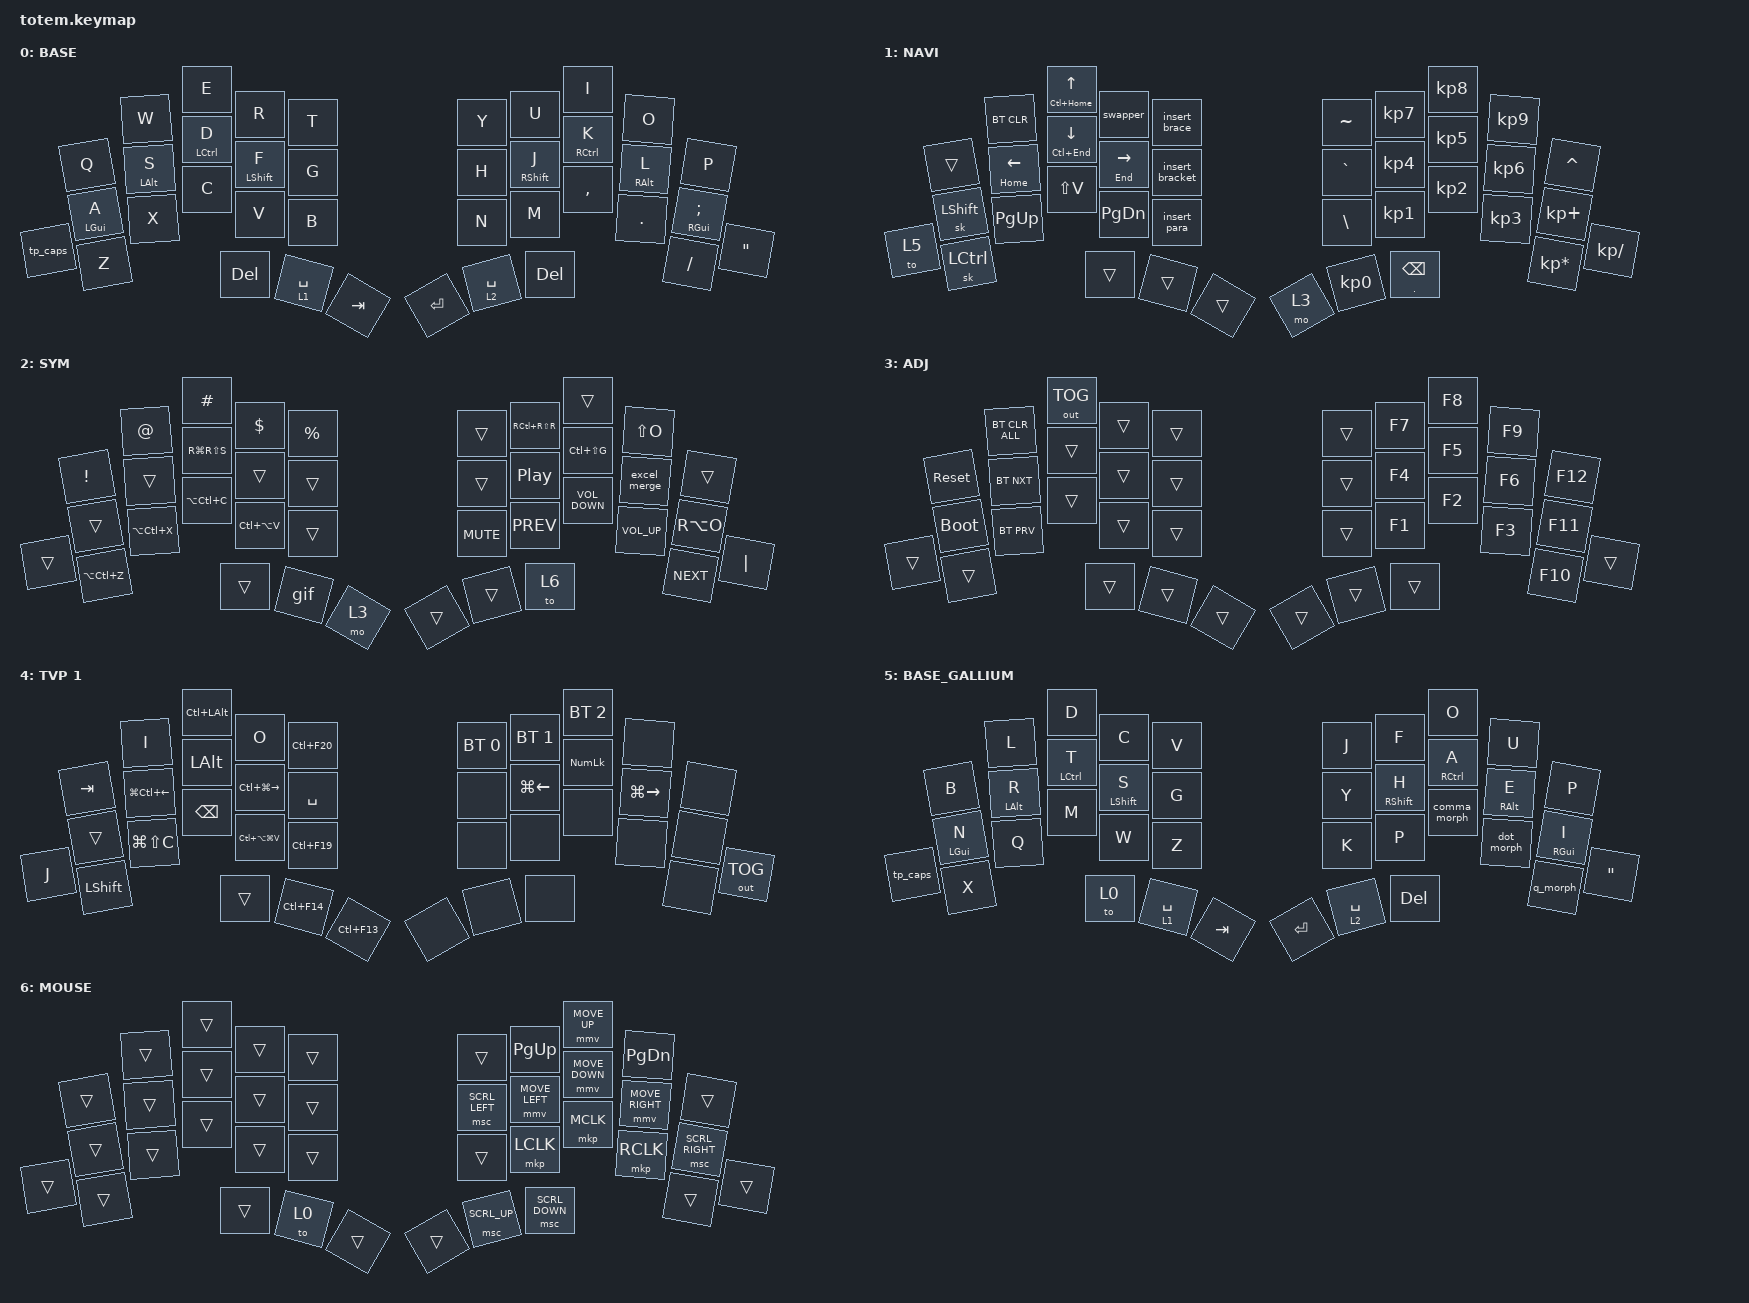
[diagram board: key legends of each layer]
//
//                                                        ▀▀▀▀▀     ▀▀▀▀▀          ▀▀█▀▀
//                                                        ▄▀▀▀▄  ▄  ▄▀▀▀▄  ▄  ▄▀▀▀▄  █  ▄▀▀▀▄
//                                                        █   █  █  █   █  █  █   █  █  █   █
//                                                         ▀▀▀   █   ▀▀▀   █   ▀▀▀   ▀   ▀▀▀
//                                                               █      ▄▄▄█▄▄▄    █   █  
//                                                               ▀      █  █  █     █▄█
//                                                             ▀▀▀▀▀    █  █  █      ▀
//                                                                      ▀  ▀  ▀
//
// ▄▄▄▄▄▄▄▄▄▄▄▄▄▄▄▄▄▄▄▄▄▄▄▄▄▄▄▄▄▄▄▄▄▄▄▄▄▄▄▄▄▄▄▄▄▄▄▄▄▄▄▄▄▄▄▄▄▄▄▄▄▄▄▄▄▄▄▄▄▄▄▄▄▄▄▄▄▄▄▄▄▄▄▄▄▄▄▄▄▄▄▄▄▄▄▄▄▄▄▄▄▄▄▄▄▄▄▄▄▄▄▄▄▄▄▄▄▄▄▄▄▄▄▄▄▄▄▄▄▄▄▄▄▄▄▄▄▄▄▄▄▄▄▄▄▄▄▄▄
// modules

#define ZMK_POINTING_DEFAULT_MOVE_VAL 1500  // 600
#define ZMK_POINTING_DEFAULT_SCRL_VAL 200   // 10

#include <behaviors/num_word.dtsi> // Requires zmk-auto-layer module. Adds num word
#include <behaviors.dtsi>
#include <dt-bindings/zmk/bt.h>
#include <dt-bindings/zmk/keys.h>
#include <dt-bindings/zmk/outputs.h>
#include <dt-bindings/zmk/pointing.h>

#define BASE 0
#define NAV  1
#define SYM  2
#define ADJ  3
#define TVP1 4
#define TVP2 5
#define MOUSE 6

&mt {
    quick-tap-ms = <150>;
    global-quick-tap;
    flavor = "balanced";
    tapping-term-ms = <280>;
    require-prior-idle-ms = <150>;
    hold-trigger-on-release;
};

&caps_word { continue-list = <UNDERSCORE BACKSPACE DELETE MINUS SLASH KP_NUMBER_1 KP_N2 KP_N3 KP_N4 KP_N5 KP_N6 KP_N7 KP_N8 KP_N9 KP_N0>; };

&msc {
    trigger-period-ms = <8>;
    time-to-max-speed-ms = <40>;  // 300
    acceleration-exponent = <1>;  // 0
};

&mmv {
    time-to-max-speed-ms = <500>; // 300
    trigger-period-ms = <8>;
    acceleration-exponent = <1>;  // 1
};

/ {
    // start of combos

    combos {
        compatible = "zmk,combos";

        combo_esc {
            timeout-ms = <50>;
            key-positions = <0 1>;
            bindings = <&kp ESC>;
        };

        combo_tvp {
            timeout-ms = <100>;
            key-positions = <11 12 13>;
            bindings = <&tog 4>;
        };

        combo_bksp {
            bindings = <&kp BACKSPACE>;
            key-positions = <8 7>;
        };

        F2_combo {
            bindings = <&kp F2>;
            key-positions = <12 2>;
        };

        combo_apos {
            bindings = <&kp APOS>;
            key-positions = <8 9>;
            require-prior-idle-ms = <150>;
        };

        combo_copy {
            bindings = <&kp LC(C)>;
            key-positions = <22 23>;
        };

        combo_paste {
            bindings = <&kp LC(V)>;
            key-positions = <23 24>;
        };

        combo_and {
            bindings = <&kp AMPS>;
            key-positions = <6 16>;
        };

        combo_F4 {
            bindings = <&kp F4>;
            key-positions = <3 13>;
        };

        combo_underscore {
            bindings = <&kp UNDER>;
            key-positions = <28 17>;
        };

        combo_dash {
            bindings = <&kp MINUS>;
            key-positions = <16 27>;
        };

        combo_equals {
            bindings = <&kp EQUAL>;
            key-positions = <13 24>;
        };

        combo_at {
            bindings = <&kp AT>;
            key-positions = <1 11>;
        };

        combo_excla {
            bindings = <&kp EXCLAMATION>;
            key-positions = <0 10>;
        };

        combo_cut {
            bindings = <&kp LC(X)>;
            key-positions = <24 22>;
        };

        combo_power {
            bindings = <&kp CARET>;
            key-positions = <5 15>;
        };

        num_period {
            bindings = <&kp PERIOD>;
            key-positions = <29 27 28>;
            layers = <1>;
        };

        lpara {
            bindings = <&lpara_morph>;
            key-positions = <16 17>;
        };

        rpara {
            bindings = <&rpara_morph>;
            key-positions = <17 18>;
        };

        lbracket {
            bindings = <&kp LEFT_BRACKET>;
            key-positions = <27 28>;
            require-prior-idle-ms = <250>;
        };

        rbracket {
            bindings = <&kp RIGHT_BRACKET>;
            key-positions = <28 29>;
            require-prior-idle-ms = <250>;
        };

        mouse {
            bindings = <&to 6>;
            key-positions = <2 3 1>;
            require-prior-idle-ms = <800>;
        };

        combo_delete {
            bindings = <&kp DEL>;
            key-positions = <7 6>;
            require-prior-idle-ms = <150>;
        };

        comb_backslash {
            bindings = <&kp BACKSLASH>;
            key-positions = <29 30>;
            layers = <0>;
        };

        /*custom combos that require modules */
        //Requires urob's auto-layer
        /* combo_smart-mouse {
            key-positions = <2 3>;
            bindings = <&smart_mouse 6>;
        };
        */
    };

    // Start of macros

    macros {
        gif: gif {
            label = "giphy";
            compatible = "zmk,behavior-macro";
            #binding-cells = <0>;
            bindings =
                <&macro_press>,
                <&kp LSHFT>,
                <&macro_tap>,
                <&kp N2>,
                <&macro_release>,
                <&kp LSHFT>,
                <&macro_tap>,
                <&kp G &kp I &kp F>;
        };

        insert_para: inset_para {
            compatible = "zmk,behavior-macro";
            #binding-cells = <0>;
            bindings = <&kp LPAR &kp RPAR &kp LEFT>;
            label = "INSET_PARA";
        };

        insert_bracket: insert_sqbrace {
            compatible = "zmk,behavior-macro";
            #binding-cells = <0>;
            bindings = <&kp LEFT_BRACKET &kp RIGHT_BRACKET &kp LEFT>;
            label = "INSERT_SQBRACE";
        };

        insert_brace: insert_brace {
            compatible = "zmk,behavior-macro";
            #binding-cells = <0>;
            bindings = <&kp LEFT_BRACE &kp RIGHT_BRACE &kp LEFT>;
            label = "INSERT_BRACE";
        };

        excel_merge: excel_merge {
            compatible = "zmk,behavior-macro";
            #binding-cells = <0>;
            bindings = <&kp RA(H) &kp M &kp C>;
            label = "EXCEL_MERGE";
        };
    };

    // start of behaviors

    behaviors {
        tp_caps: tp_caps {
            compatible = "zmk,behavior-tap-dance";
            label = "TP_CAPS";
            #binding-cells = <0>;
            bindings = <&caps_word>, <&kp CAPS>;
        };

        /* Custom Behaviors*/
        //swapper, requires urob's tri-state module

        swapper: swapper {
            compatible = "zmk,behavior-tri-state";
            label = "SWAPPER";
            #binding-cells = <0>;
            bindings = <&kt LALT>, <&kp TAB>, <&kt LALT>;

            ignored-key-positions = <1>;
        };

        comma_morph: comma_morph {
            compatible = "zmk,behavior-mod-morph";
            label = "COMMA_MORPH";
            bindings = <&kp COMMA>, <&comma_inner_morph>;

            #binding-cells = <0>;
            mods = <(MOD_LSFT)>;
        };

        comma_inner_morph: comma_inner_morph {
            compatible = "zmk,behavior-mod-morph";
            label = "COMMA_INNER_MORPH";
            bindings = <&kp SEMI>, <&kp LESS_THAN>;

            #binding-cells = <0>;
            mods = <(MOD_LCTL)>;
        };

        dot_inner_morph: dot_inner_morph {
            compatible = "zmk,behavior-mod-morph";
            label = "DOT_INNER_MORPH";
            bindings = <&kp COLON>, <&kp GREATER_THAN>;

            #binding-cells = <0>;
            mods = <(MOD_LCTL)>;
        };

        dot_morph: dot_morph {
            compatible = "zmk,behavior-mod-morph";
            label = "DOT_MORPH";
            bindings = <&kp DOT>, <&dot_inner_morph>;

            #binding-cells = <0>;
            mods = <(MOD_LSFT)>;
        };

        q_morph: q_morph {
            compatible = "zmk,behavior-mod-morph";
            label = "Q_MORPH";
            bindings = <&kp QUESTION>, <&kp EXCLAMATION>;

            #binding-cells = <0>;
            mods = <(MOD_LSFT)>;
        };

        lpara_morph: lpara_morph {
            compatible = "zmk,behavior-mod-morph";
            label = "LPARA_MORPH";
            bindings = <&kp LEFT_PARENTHESIS>, <&kp LESS_THAN>;

            #binding-cells = <0>;
            mods = <(MOD_LSFT)>;
        };

        rpara_morph: rpara_morph {
            compatible = "zmk,behavior-mod-morph";
            label = "RPARA_MORPH";
            bindings = <&kp RIGHT_PARENTHESIS>, <&kp GREATER_THAN>;

            #binding-cells = <0>;
            mods = <(MOD_LSFT)>;
        };

        //smart mouse auto-layer
        /* smart_mouse: smart_mouse {
            compatible = "zmk,behavior-auto-layer";
            #binding-cells = <1>;
            continue-list = <PG_UP MOVE_UP PG_DN SCRL_LEFT MOVE_LEFT MOVE_DOWN MOVE_RIGHT SCRL_RIGHT LCLK MCLK RCLK SCRL_RIGHT SCRL_DOWN>;
            ignore-modifiers;
        };
        */
    };

    keymap {
        compatible = "zmk,keymap";

        // ▄▄▄▄▄▄▄▄▄▄▄▄▄▄▄▄▄▄▄▄▄▄▄▄▄▄▄▄▄▄▄▄▄▄▄▄▄▄▄▄▄▄▄▄▄▄▄▄▄▄▄▄▄▄▄▄▄▄▄▄▄▄▄▄▄▄▄▄▄▄▄▄▄▄▄▄▄▄▄▄▄▄▄▄▄▄▄▄▄▄▄▄▄▄▄▄▄▄▄▄▄▄▄▄▄▄▄▄▄▄▄▄▄▄▄▄▄▄▄▄▄▄▄▄▄▄▄▄▄▄▄▄▄▄▄▄▄▄▄▄▄▄▄▄▄▄▄▄▄

        base_layer {
            // ┏━━━━━━━━━━━━━━━━━━━━━━━━━━━━━━━━━━━━━━━┓

            label = "BASE";

            // ┗━━━━━━━━━━━━━━━━━━━━━━━━━━━━━━━━━━━━━━━┛
            //             ┏━━━━━━━━━━━┳━━━━━━━━━━━┳━━━━━━━━━━━┳━━━━━━━━━━━┳━━━━━━━━━━━┓   ┏━━━━━━━━━━━┳━━━━━━━━━━━┳━━━━━━━━━━━┳━━━━━━━━━━━┳━━━━━━━━━━━┓
            //             ┃     Q     ┃     W     ┃     E     ┃     R     ┃     T     ┃   ┃    Y      ┃     U     ┃     I     ┃     O     ┃     P     ┃
            //             ┣━━━━━━━━━━━╋━━━━━━━━━━━╋━━━━━━━━━━━╋━━━━━━━━━━━╋━━━━━━━━━━━┫   ┣━━━━━━━━━━━╋━━━━━━━━━━━╋━━━━━━━━━━━╋━━━━━━━━━━━╋━━━━━━━━━━━┫
            //             ┃     A     ┃     S     ┃     D     ┃     F     ┃     G     ┃   ┃     H     ┃     J     ┃     K     ┃     L     ┃     ;     ┃
            // ┏━━━━━━━━━━━╋━━━━━━━━━━━╋━━━━━━━━━━━╋━━━━━━━━━━━╋━━━━━━━━━━━╋━━━━━━━━━━━┫   ┣━━━━━━━━━━━╋━━━━━━━━━━━╋━━━━━━━━━━━╋━━━━━━━━━━━╋━━━━━━━━━━━╋━━━━━━━━━━━┓
            // ┃ CAPS WORD ┃     Z     ┃     X     ┃     C     ┃     V     ┃     B     ┃   ┃     N     ┃     M     ┃     ,     ┃     .     ┃     /     ┃     "     ┃
            // ┗━━━━━━━━━━━┻━━━━━━━━━━━┻━━━━━━━━━━━╋━━━━━━━━━━━╋━━━━━━━━━━━╋━━━━━━━━━━━┫   ┣━━━━━━━━━━━╋━━━━━━━━━━━╋━━━━━━━━━━━╋━━━━━━━━━━━┻━━━━━━━━━━━┻━━━━━━━━━━━┛
            //                                     ┃    DEL    ┃    SPC    ┃    TAB    ┃   ┃   ENTER   ┃    SPC    ┃   BSPC    ┃
            //                                     ┗━━━━━━━━━━━┻━━━━━━━━━━━┻━━━━━━━━━━━┛   ┗━━━━━━━━━━━┻━━━━━━━━━━━┻━━━━━━━━━━━┛

            bindings = <
          &kp Q       &kp W       &kp E        &kp R        &kp T      &kp Y    &kp U        &kp I        &kp O       &kp P
          &mt LGUI A  &mt LALT S  &mt LCTRL D  &mt LSHFT F  &kp G      &kp H    &mt RSHFT J  &mt RCTRL K  &mt RALT L  &mt RGUI SEMI
&tp_caps  &kp Z       &kp X       &kp C        &kp V        &kp B      &kp N    &kp M        &kp COMMA    &kp DOT     &kp FSLH       &kp DOUBLE_QUOTES
                                  &kp DEL      &lt 1 SPACE  &kp TAB    &kp RET  &lt 2 SPACE  &kp DELETE
            >;
        };

        nav_layer {
            // ┏━━━━━━━━━━━━━━━━━━━━━━━━━━━━━━━━━━━━━━━┓

            label = "NAVI";

            // ┗━━━━━━━━━━━━━━━━━━━━━━━━━━━━━━━━━━━━━━━┛
            //             ┏━━━━━━━━━━━┳━━━━━━━━━━━┳━━━━━━━━━━━┳━━━━━━━━━━━┳━━━━━━━━━━━┓   ┏━━━━━━━━━━━┳━━━━━━━━━━━┳━━━━━━━━━━━┳━━━━━━━━━━━┳━━━━━━━━━━━┓
            //             ┃           ┃           ┃     UP    ┃           ┃     {}    ┃   ┃     ~     ┃     7     ┃     8     ┃     9     ┃     +     ┃
            //             ┣━━━━━━━━━━━╋━━━━━━━━━━━╋━━━━━━━━━━━╋━━━━━━━━━━━╋━━━━━━━━━━━┫   ┣━━━━━━━━━━━╋━━━━━━━━━━━╋━━━━━━━━━━━╋━━━━━━━━━━━╋━━━━━━━━━━━┫
            //             ┃   SHIFT   ┃   LEFT    ┃    DOWN   ┃   RIGHT   ┃     []    ┃   ┃     '     ┃     4     ┃     5     ┃     6     ┃     -     ┃
            // ┏━━━━━━━━━━━╋━━━━━━━━━━━╋━━━━━━━━━━━╋━━━━━━━━━━━╋━━━━━━━━━━━╋━━━━━━━━━━━┫   ┣━━━━━━━━━━━╋━━━━━━━━━━━╋━━━━━━━━━━━╋━━━━━━━━━━━╋━━━━━━━━━━━╋━━━━━━━━━━━┓
            // ┃           ┃    DEL    ┃   P UP    ┃  C LOCK   ┃  P DOWN   ┃     ()    ┃   ┃     .     ┃     1     ┃     2     ┃     3     ┃     *     ┃     /     ┃
            // ┗━━━━━━━━━━━┻━━━━━━━━━━━┻━━━━━━━━━━━╋━━━━━━━━━━━╋━━━━━━━━━━━╋━━━━━━━━━━━┫   ┣━━━━━━━━━━━╋━━━━━━━━━━━╋━━━━━━━━━━━╋━━━━━━━━━━━┻━━━━━━━━━━━┻━━━━━━━━━━━┛
            //                                     ┃           ┃    SPC    ┃    TAB    ┃   ┃    DEL    ┃     0     ┃           ┃
            //                                     ┗━━━━━━━━━━━┻━━━━━━━━━━━┻━━━━━━━━━━━┛   ┗━━━━━━━━━━━┻━━━━━━━━━━━┻━━━━━━━━━━━┛

            bindings = <
       &trans     &bt BT_CLR     &mt LC(HOME) UP_ARROW  &swapper       &insert_brace      &kp TILDE      &kp KP_N7  &kp KP_N8             &kp KP_N9  &kp CARET
       &sk LSHFT  &mt HOME LEFT  &mt LC(END) DOWN       &mt END RIGHT  &insert_bracket    &kp GRAVE      &kp KP_N4  &kp KP_N5             &kp KP_N6  &kp KP_PLUS
&to 5  &sk LCTRL  &kp PG_UP      &kp LS(V)              &kp PG_DN      &insert_para       &kp BACKSLASH  &kp KP_N1  &kp KP_N2             &kp KP_N3  &kp KP_MULTIPLY  &kp KP_SLASH
                                 &trans                 &trans         &trans             &mo 3          &kp KP_N0  &mt PERIOD BACKSPACE
            >;
        };

        sim_layer {
            // ┏━━━━━━━━━━━━━━━━━━━━━━━━━━━━━━━━━━━━━━━┓

            label = "SYM";

            // ┗━━━━━━━━━━━━━━━━━━━━━━━━━━━━━━━━━━━━━━━┛
            //             ┏━━━━━━━━━━━┳━━━━━━━━━━━┳━━━━━━━━━━━┳━━━━━━━━━━━┳━━━━━━━━━━━┓   ┏━━━━━━━━━━━┳━━━━━━━━━━━┳━━━━━━━━━━━┳━━━━━━━━━━━┳━━━━━━━━━━━┓
            //             ┃     !     ┃     @     ┃     #     ┃     $     ┃     %     ┃   ┃     ˆ     ┃     *     ┃     Ü     ┃     '     ┃     "     ┃
            //             ┣━━━━━━━━━━━╋━━━━━━━━━━━╋━━━━━━━━━━━╋━━━━━━━━━━━╋━━━━━━━━━━━┫   ┣━━━━━━━━━━━╋━━━━━━━━━━━╋━━━━━━━━━━━╋━━━━━━━━━━━╋━━━━━━━━━━━┫
            //             ┃     Ä     ┃           ┃    SZ     ┃           ┃           ┃   ┃   MUTE    ┃ PLAYPAUSE ┃   EURO    ┃  POUND    ┃     Ö     ┃
            // ┏━━━━━━━━━━━╋━━━━━━━━━━━╋━━━━━━━━━━━╋━━━━━━━━━━━╋━━━━━━━━━━━╋━━━━━━━━━━━┫   ┣━━━━━━━━━━━╋━━━━━━━━━━━╋━━━━━━━━━━━╋━━━━━━━━━━━╋━━━━━━━━━━━╋━━━━━━━━━━━┓
            // ┃           ┃  EMAIL1   ┃  EMAIL2   ┃           ┃           ┃           ┃   ┃   VOL-    ┃   VOL+    ┃   LAST    ┃   NEXT    ┃     \     ┃           ┃
            // ┗━━━━━━━━━━━┻━━━━━━━━━━━┻━━━━━━━━━━━╋━━━━━━━━━━━╋━━━━━━━━━━━╋━━━━━━━━━━━┫   ┣━━━━━━━━━━━╋━━━━━━━━━━━╋━━━━━━━━━━━╋━━━━━━━━━━━┻━━━━━━━━━━━┻━━━━━━━━━━━┛
            //                                     ┃           ┃    GIF    ┃    ADJ    ┃   ┃           ┃           ┃           ┃
            //                                     ┗━━━━━━━━━━━┻━━━━━━━━━━━┻━━━━━━━━━━━┛   ┗━━━━━━━━━━━┻━━━━━━━━━━━┻━━━━━━━━━━━┛

            bindings = <
        &kp EXCL       &kp AT         &kp HASH       &kp DLLR       &kp PRCNT    &trans      &kp RC(RS(R))     &trans             &kp LS(O)        &trans
        &trans         &trans         &kp RG(RS(S))  &trans         &trans       &trans      &kp C_PLAY_PAUSE  &kp LC(LS(G))      &excel_merge     &kp RA(O)
&trans  &kp LA(LC(Z))  &kp LA(LC(X))  &kp LA(LC(C))  &kp LC(LA(V))  &trans       &kp C_MUTE  &kp C_PREV        &kp C_VOLUME_DOWN  &kp C_VOLUME_UP  &kp C_NEXT  &kp PIPE
                                      &trans         &gif           &mo 3        &trans      &trans            &to 6
            >;
        };

        adjust_layer {
            // ┏━━━━━━━━━━━━━━━━━━━━━━━━━━━━━━━━━━━━━━━┓

            label = "ADJ";

            // ┗━━━━━━━━━━━━━━━━━━━━━━━━━━━━━━━━━━━━━━━┛
            //             ┏━━━━━━━━━━━┳━━━━━━━━━━━┳━━━━━━━━━━━┳━━━━━━━━━━━┳━━━━━━━━━━━┓   ┏━━━━━━━━━━━┳━━━━━━━━━━━┳━━━━━━━━━━━┳━━━━━━━━━━━┳━━━━━━━━━━━┓
            //             ┃   RESET   ┃ BT CLEAR  ┃  OUT TOG  ┃           ┃           ┃   ┃           ┃    F7     ┃    F8     ┃    F9     ┃    F12    ┃
            //             ┣━━━━━━━━━━━╋━━━━━━━━━━━╋━━━━━━━━━━━╋━━━━━━━━━━━╋━━━━━━━━━━━┫   ┣━━━━━━━━━━━╋━━━━━━━━━━━╋━━━━━━━━━━━╋━━━━━━━━━━━╋━━━━━━━━━━━┫
            //             ┃ BOOTLOAD  ┃ BT NEXT   ┃           ┃           ┃           ┃   ┃           ┃    F4     ┃    F5     ┃    F6     ┃    F11    ┃
            // ┏━━━━━━━━━━━╋━━━━━━━━━━━╋━━━━━━━━━━━╋━━━━━━━━━━━╋━━━━━━━━━━━╋━━━━━━━━━━━┫   ┣━━━━━━━━━━━╋━━━━━━━━━━━╋━━━━━━━━━━━╋━━━━━━━━━━━╋━━━━━━━━━━━╋━━━━━━━━━━━┓
            // ┃           ┃           ┃ BT PREV   ┃           ┃           ┃           ┃   ┃           ┃    F1     ┃    F2     ┃    F3     ┃    F10    ┃           ┃
            // ┗━━━━━━━━━━━┻━━━━━━━━━━━┻━━━━━━━━━━━╋━━━━━━━━━━━╋━━━━━━━━━━━╋━━━━━━━━━━━┫   ┣━━━━━━━━━━━╋━━━━━━━━━━━╋━━━━━━━━━━━╋━━━━━━━━━━━┻━━━━━━━━━━━┻━━━━━━━━━━━┛
            //                                     ┃           ┃           ┃           ┃   ┃           ┃           ┃           ┃
            //                                     ┗━━━━━━━━━━━┻━━━━━━━━━━━┻━━━━━━━━━━━┛   ┗━━━━━━━━━━━┻━━━━━━━━━━━┻━━━━━━━━━━━┛

            bindings = <
        &sys_reset   &bt BT_CLR_ALL  &out OUT_TOG  &trans  &trans    &trans  &kp F7  &kp F8  &kp F9  &kp F12
        &bootloader  &bt BT_NXT      &trans        &trans  &trans    &trans  &kp F4  &kp F5  &kp F6  &kp F11
&trans  &trans       &bt BT_PRV      &trans        &trans  &trans    &trans  &kp F1  &kp F2  &kp F3  &kp F10  &trans
                                     &trans        &trans  &trans    &trans  &trans  &trans
            >;
        };

        tvp1_layer {
            // ┏━━━━━━━━━━━━━━━━━━━━━━━━━━━━━━━━━━━━━━━┓

            label = "TVP 1";

            // ┗━━━━━━━━━━━━━━━━━━━━━━━━━━━━━━━━━━━━━━━┛
            //             ┏━━━━━━━━━━━┳━━━━━━━━━━━┳━━━━━━━━━━━┳━━━━━━━━━━━┳━━━━━━━━━━━┓   ┏━━━━━━━━━━━┳━━━━━━━━━━━┳━━━━━━━━━━━┳━━━━━━━━━━━┳━━━━━━━━━━━┓
            //             ┃ NEXT FILE ┃ MARK IN   ┃ ROTATE    ┃ MARK OUT  ┃ SHOW SNAP ┃   ┃           ┃           ┃           ┃           ┃           ┃
            //             ┣━━━━━━━━━━━╋━━━━━━━━━━━╋━━━━━━━━━━━╋━━━━━━━━━━━╋━━━━━━━━━━━┫   ┣━━━━━━━━━━━╋━━━━━━━━━━━╋━━━━━━━━━━━╋━━━━━━━━━━━╋━━━━━━━━━━━┫
            //             ┃ TVP II    ┃ LEFT      ┃ PAN       ┃ RIGHT     ┃ PLAY/FLIP ┃   ┃           ┃ R DESKTOP ┃           ┃ L DESKTOP ┃           ┃
            // ┏━━━━━━━━━━━╋━━━━━━━━━━━╋━━━━━━━━━━━╋━━━━━━━━━━━╋━━━━━━━━━━━╋━━━━━━━━━━━┫   ┣━━━━━━━━━━━╋━━━━━━━━━━━╋━━━━━━━━━━━╋━━━━━━━━━━━╋━━━━━━━━━━━╋━━━━━━━━━━━┓
            // ┃ FULLSCR   ┃ SHIFT     ┃ COPY      ┃ DELETE    ┃ PASTE     ┃ IMG MARK  ┃   ┃           ┃           ┃           ┃           ┃           ┃           ┃
            // ┗━━━━━━━━━━━┻━━━━━━━━━━━┻━━━━━━━━━━━╋━━━━━━━━━━━╋━━━━━━━━━━━╋━━━━━━━━━━━┫   ┣━━━━━━━━━━━╋━━━━━━━━━━━╋━━━━━━━━━━━╋━━━━━━━━━━━┻━━━━━━━━━━━┻━━━━━━━━━━━┛
            //                                     ┃           ┃ UNDO/SAVE ┃  SEL/MOV  ┃   ┃           ┃           ┃           ┃
            //                                     ┗━━━━━━━━━━━┻━━━━━━━━━━━┻━━━━━━━━━━━┛   ┗━━━━━━━━━━━┻━━━━━━━━━━━┻━━━━━━━━━━━┛

            bindings = <
       &kp TAB    &kp I             &kp LC(LALT)  &kp O              &kp LC(F20)    &bt BT_SEL 0  &bt BT_SEL 1  &bt BT_SEL 2    &none          &none
       &trans     &kp LG(LC(LEFT))  &kp LALT      &kp LC(LG(RIGHT))  &kp SPACE      &none         &kp LG(LEFT)  &kp KP_NUMLOCK  &kp LG(RIGHT)  &none
&kp J  &kp LSHFT  &kp LG(LS(C))     &kp BSPC      &kp LC(LA(LG(V)))  &kp LC(F19)    &none         &none         &none           &none          &none  &out OUT_TOG
                                    &trans        &kp LC(F14)        &kp LC(F13)    &none         &none         &none
            >;
        };

        Gallium {
            label = "BASE_GALLIUM";
            bindings = <
          &kp B       &kp L       &kp D        &kp C        &kp V      &kp J    &kp F        &kp O         &kp U       &kp P
          &mt LGUI N  &mt LALT R  &mt LCTRL T  &mt LSHFT S  &kp G      &kp Y    &mt RSHFT H  &mt RCTRL A   &mt RALT E  &mt RGUI I
&tp_caps  &kp X       &kp Q       &kp M        &kp W        &kp Z      &kp K    &kp P        &comma_morph  &dot_morph  &q_morph    &kp DOUBLE_QUOTES
                                  &to 0        &lt 1 SPACE  &kp TAB    &kp RET  &lt 2 SPACE  &kp DELETE
            >;
        };

        Mouse {
            label = "MOUSE";
            bindings = <
        &trans  &trans  &trans  &trans  &trans    &trans          &kp PG_UP       &mmv MOVE_UP    &kp PAGE_DOWN    &trans
        &trans  &trans  &trans  &trans  &trans    &msc SCRL_LEFT  &mmv MOVE_LEFT  &mmv MOVE_DOWN  &mmv MOVE_RIGHT  &msc SCRL_RIGHT
&trans  &trans  &trans  &trans  &trans  &trans    &trans          &mkp LCLK       &mkp MCLK       &mkp RCLK        &trans           &trans
                        &trans  &to 0   &trans    &trans          &msc SCRL_UP    &msc SCRL_DOWN
            >;
        };
    };
};
